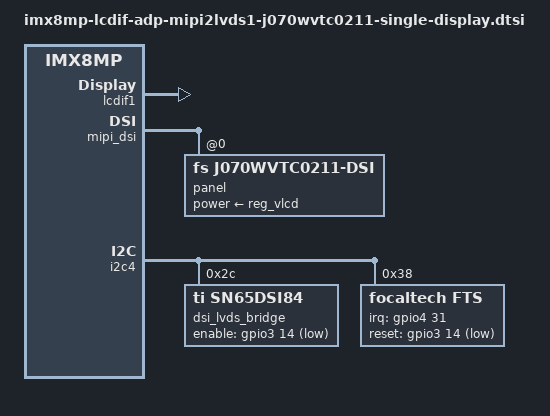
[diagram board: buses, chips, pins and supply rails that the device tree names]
/*
 * Copyright (C) 2019 F&S Elektronik Systeme GmbH
 *
 * This program is free software; you can redistribute it and/or modify
 * it under the terms of the GNU General Public License version 2 as
 * published by the Free Software Foundation.
 */

&lcdif1 {
	status = "okay";
};

&mipi_dsi {
	status = "okay";

	panel@0 {
		reg = <0>;
		compatible = "fs,j070wvtc0211-dsi"; /* one of panel-simple's
		     		          match strings */

		power-supply = <&reg_vlcd>;

		dsi,flags = <0xB>; /* MIPI_DSI_MODE_VIDEO MIPI_DSI_MODE_VIDEO_BURST MIPI_DSI_MODE_VIDEO_AUTO_VERT */
		dsi,format = <0x0>; /* MIPI_DSI_FMT_RGB888 */
		dsi,lanes = <4>;

		bus-flags = <1>;
		refresh-rate = <60>;
		rotate = <0>;
		bus-format = <0x100a>;

		panel-width-mm = <154>;
		panel-height-mm = <85>;

		display-timings {
			native-mode = <&timing0>;

			timing0: jd_j070wvtc0211 {
				clock-frequency = <33300000>;
				hactive = <800>;
				vactive = <480>;
				hback-porch = <10>;
				hfront-porch = <37>;
				hsync-len = <128>;
				vback-porch = <23>;
				vfront-porch = <11>;
				vsync-len = <1>;
				pixelclk-active = <0>;
				de-active = <1>;
				vsync-active = <0>;
				hsync-active = <0>;
			};
		};
	};
};

&i2c4 {
    /* mipi to lvds controller  */
	dsi_lvds_bridge: sn65dsi84@2c {
		reg = <0x2c>;
		status = "okay";
		compatible = "ti,sn65dsi84";
		#gpio-cells = <2>;
		enable-gpios = <&gpio3 14 GPIO_ACTIVE_LOW>; /* <&pinctrl_mipi_dsi_rst>; */
		sn65dsi84,addresses = <0x09 0x0A 0x0B 0x0D
		                       0x10 0x11 0x12 0x13
                               0x18 0x19 0x1A 0x1B
                               0x20 0x21 0x22 0x23
                               0x24 0x25 0x26 0x27
                               0x28 0x29 0x2A 0x2B
                               0x2C 0x2D 0x2E 0x2F
                               0x30 0x31 0x32 0x33
                               0x34 0x35 0x36 0x37
                               0x38 0x39 0x3A 0x3B
                               0x3C 0x3D 0x3E
                               0x0D>;

		sn65dsi84,values = </* reset and clock registers */
		                    0x00 0x01 0x10 0x00
                            /* DSI registers */
		                    0x26 0x00 0x14 0x00
		                    /* LVDS registers */
                            0x78 0x00 0x03 0x00
                            /* video registers */
                            /* cha-al-len-l, cha-al-len-h */
                            0x20 0x03 0x00 0x00
                            /* cha-v-ds-l, cha-v-ds-h */
                            0x00 0x00 0x00 0x00
                            /* cha-sdl, cha-sdh*/
                            0x21 0x00 0x00 0x00
                            /* cha-hs-pwl, cha-hs-pwh */
                            0x01 0x00 0x00 0x00
                            /* cha-vs-pwl, cha-vs-pwh */
                            0x01 0x00 0x00 0x00
                            /*cha-hbp, cha-vbp */
                            0x2e 0x00 0x00 0x00
                            /* cha-hfp, cha-vfp*/
                            0x00 0x00 0x00 0x00
                            0x00 0x00 0x00
                            0x01>;
	};

	/* touch I2C */
	focaltech@38 {
		compatible = "focaltech,fts";
		reg = <0x38>;
		interrupt-parent = <&gpio4>;
		interrupts = <31 IRQ_TYPE_EDGE_FALLING>;
		focaltech,irq-gpio = <&gpio4 31 IRQ_TYPE_EDGE_FALLING>;
#ifdef CONFIG_PICOCOREMX8MP_INVERTED_XY
		focaltech,touchscreen-inverted-x;
		focaltech,touchscreen-inverted-y;
#endif
		focaltech,reset-gpio = <&gpio3 14 GPIO_ACTIVE_LOW>;
		focaltech,num-max-touches = <10>;
		focaltech,display-coords = <0 0 800 480>;
	};
};

